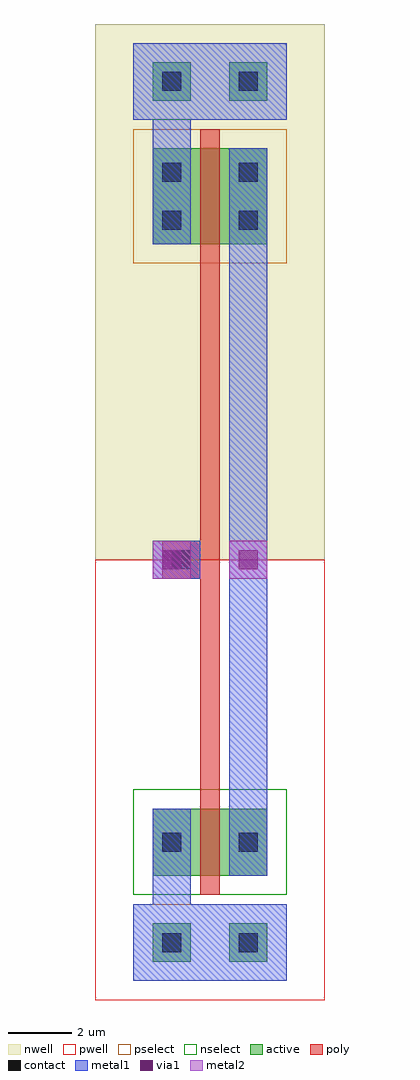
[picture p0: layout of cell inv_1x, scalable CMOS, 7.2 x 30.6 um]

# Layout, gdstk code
import gdstk
lib = gdstk.Library(unit=1e-6, precision=1e-09)
def R(c, l, rs):  # rectangles x0, y0, x1, y1
    for r in rs: c.add(gdstk.rectangle(r[:2], r[2:], *l))
contact = (25, 0)
pwell = (41, 0)
nwell = (42, 0)
active = (43, 0)
pselect = (44, 0)
nselect = (45, 0)
poly = (46, 0)
metal1 = (49, 0)
via1 = (50, 0)
metal2 = (51, 0)

inv_1x = lib.new_cell('inv_1x')
R(inv_1x, contact, [(0.3,-0.3,0.9,0.3), (2.7,-0.3,3.3,0.3), (0.3,2.85,0.9,3.45), (2.7,2.85,3.3,3.45), (0.6,11.7,1.2,12.3), (0.3,22.35,0.9,22.95), (2.7,22.35,3.3,22.95), (0.3,23.85,0.9,24.45), (2.7,23.85,3.3,24.45), (0.3,26.7,0.9,27.3), (2.7,26.7,3.3,27.3)])
R(inv_1x, pwell, [(-1.8,-1.8,5.4,12), (-0.9,-1.5,2.1,1.5), (1.5,-1.5,4.5,1.5), (-1.8,0.3,3,6), (-1.2,0.3,4.8,6), (0.6,0.3,5.4,6), (-1.65,0.9,2.925,5.4), (0.675,0.9,5.25,5.4), (0.75,0.9,5.25,6)])
R(inv_1x, nwell, [(-1.8,12,5.4,28.8), (-1.8,20.1,3,26.7), (-1.2,20.1,4.8,26.7), (0.6,20.1,5.4,26.7), (-1.65,21.15,2.925,25.65), (0.675,21.15,5.25,25.65), (-0.9,25.5,2.1,28.5), (1.5,25.5,4.5,28.5)])
R(inv_1x, active, [(0,-0.6,1.2,0.6), (2.4,-0.6,3.6,0.6), (0,2.1,1.2,4.2), (0.6,2.1,3,4.2), (2.4,2.1,3.6,4.2), (0.15,2.7,1.125,3.6), (2.475,2.7,3.45,3.6), (2.55,2.7,3.45,4.2), (0,21.9,1.2,24.9), (0.6,21.9,3,24.9), (2.4,21.9,3.6,24.9), (0.15,22.95,1.125,23.85), (2.475,22.95,3.45,23.85), (0,26.4,1.2,27.6), (2.4,26.4,3.6,27.6)])
R(inv_1x, pselect, [(-0.6,-1.2,1.8,1.2), (1.8,-1.2,4.2,1.2), (-0.6,21.3,1.8,25.5), (0,21.3,3.6,25.5), (1.8,21.3,4.2,25.5), (-0.45,22.35,1.725,24.45), (1.875,22.35,4.05,24.45)])
R(inv_1x, nselect, [(-0.6,1.5,1.8,4.8), (0,1.5,3.6,4.8), (1.8,1.5,4.2,4.8), (-0.45,2.1,1.725,4.2), (1.875,2.1,4.05,4.2), (1.95,2.1,4.05,4.8), (-0.6,25.8,1.8,28.2), (1.8,25.8,4.2,28.2)])
R(inv_1x, poly, [(1.5,1.5,2.1,4.8), (1.5,4.5,2.1,12.3), (0.3,11.4,1.5,12.6), (0.6,11.7,2.1,12.3), (1.5,11.7,2.1,21.6), (1.5,21.3,2.1,25.5)])
R(inv_1x, metal1, [(-0.6,-1.2,4.2,1.2), (-0.6,-1.2,4.2,1.2), (0,-0.6,1.2,0.6), (0,-0.6,1.2,3.15), (2.4,-0.6,3.6,0.6), (0,2.1,1.2,4.2), (2.4,2.1,3.6,4.2), (2.4,3.15,3.6,12.6), (0,11.4,1.2,12.6), (0.3,11.4,1.5,12.6), (0.3,11.4,1.5,12.6), (2.4,11.4,3.6,12.6), (2.4,11.4,3.6,22.95), (2.55,11.55,3.45,12.45), (0,21.9,1.2,24.9), (2.4,21.9,3.6,24.9), (0,23.85,1.2,27.6), (-0.6,25.8,1.8,28.2), (-0.6,25.8,4.2,28.2), (0,26.4,1.2,27.6), (0,26.4,1.2,27.6), (2.4,26.4,3.6,27.6)])
R(inv_1x, via1, [(0.3,11.7,0.9,12.3), (2.7,11.7,3.3,12.3)])
R(inv_1x, metal2, [(0,11.4,1.2,12.6), (2.4,11.4,3.6,12.6)])

lib.write_gds('inv_1x.gds')
